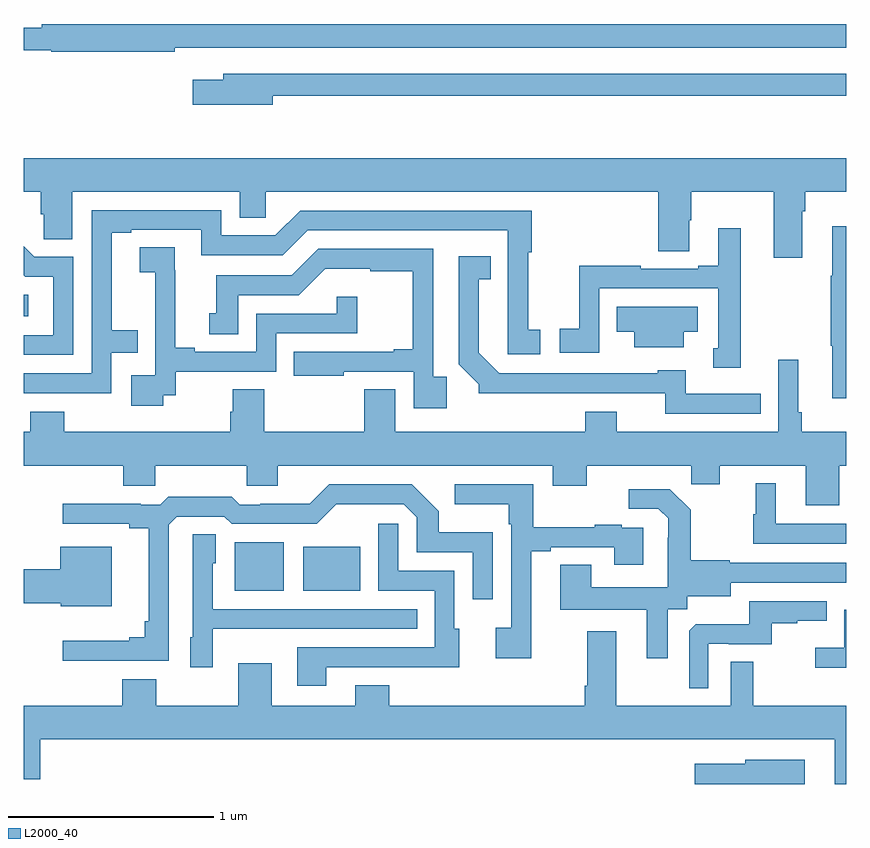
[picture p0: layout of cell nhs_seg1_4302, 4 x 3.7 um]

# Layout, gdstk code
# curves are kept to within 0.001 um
import gdstk
lib = gdstk.Library(unit=1e-6, precision=1e-09)
def R(c, l, rs):  # rectangles x0, y0, x1, y1
    for r in rs: c.add(gdstk.rectangle(r[:2], r[2:], *l))
def P(c, l, *ps):  # polygons
    for p in ps: c.add(gdstk.Polygon(p, *l))
L2000_40 = (2000, 40)

nhs_seg1_4302 = lib.new_cell('nhs_seg1_4302')
R(nhs_seg1_4302, L2000_40, [(346.025,535.139,346.264,535.375), (346.358,535.139,346.636,535.354), (345,536.474,345.022,536.578)])
P(nhs_seg1_4302, L2000_40, [(345.734,537.78),(349,537.78),(349,537.896),(345.088,537.896),(345.088,537.877),(345,537.877),(345,537.768),(345.134,537.768),(345.134,537.76),(345.734,537.76)],
  [(346.21,537.546),(349,537.546),(349,537.654),(345.971,537.654),(345.971,537.625),(345.822,537.625),(345.822,537.503),(346.21,537.503)],
  [(348.787,536.984),(348.8,536.984),(348.8,537.08),(349,537.08),(349,537.244),(345,537.244),(345,537.08),(345.083,537.08),(345.083,536.971),(345.096,536.971),(345.096,536.848),(345.235,536.848),(345.235,537.08),(346.049,537.08),(346.049,536.953),(346.176,536.953),(346.176,537.08),(348.086,537.08),(348.086,536.791),(348.238,536.791),(348.238,536.942),(348.246,536.942),(348.246,537.08),(348.647,537.08),(348.647,536.76),(348.787,536.76)],
  [(345.426,536.298),(345.554,536.298),(345.554,536.407),(345.427,536.407),(345.427,536.88),(345.523,536.88),(345.523,536.895),(345.864,536.895),(345.864,536.772),(346.26,536.772),(346.38,536.892),(347.355,536.892),(347.354,536.289),(347.512,536.289),(347.512,536.409),(347.454,536.409),(347.454,536.785),(347.471,536.785),(347.471,536.988),(346.344,536.988),(346.224,536.868),(345.96,536.868),(345.96,536.991),(345.33,536.991),(345.33,536.196),(345,536.196),(345,536.1),(345.426,536.1)],
  [(349,536.911),(348.932,536.911),(348.932,536.672),(348.925,536.672),(348.925,536.331),(348.932,536.331),(348.932,536.076),(349,536.076)],
  [(348.487,536.902),(348.377,536.902),(348.377,536.719),(348.281,536.719),(348.281,536.706),(348.002,536.706),(348.002,536.719),(347.701,536.719),(347.701,536.414),(347.607,536.414),(347.607,536.298),(347.799,536.298),(347.799,536.61),(348.378,536.61),(348.378,536.319),(348.353,536.319),(348.353,536.225),(348.487,536.225)],
  [(345.24,536.763),(345.051,536.763),(345,536.814),(345,536.673),(345.006,536.667),(345.144,536.667),(345.144,536.382),(345,536.382),(345,536.286),(345.24,536.286)],
  [(345.678,536.091),(345.74,536.091),(345.74,536.205),(346.227,536.205),(346.227,536.391),(346.622,536.391),(346.622,536.569),(346.521,536.569),(346.521,536.487),(346.131,536.487),(346.131,536.301),(345.832,536.301),(345.832,536.321),(345.736,536.321),(345.736,536.699),(345.734,536.699),(345.734,536.81),(345.564,536.81),(345.564,536.689),(345.638,536.689),(345.638,536.491),(345.639,536.491),(345.639,536.187),(345.522,536.187),(345.522,536.04),(345.678,536.04)],
  [(347.057,536.179),(346.992,536.179),(346.992,536.802),(346.431,536.802),(346.302,536.673),(345.935,536.673),(345.935,536.49),(345.902,536.49),(345.902,536.386),(346.042,536.386),(346.042,536.577),(346.338,536.577),(346.466,536.705),(346.685,536.705),(346.685,536.694),(346.891,536.694),(346.891,536.314),(346.799,536.314),(346.799,536.301),(346.312,536.301),(346.312,536.186),(346.555,536.186),(346.555,536.205),(346.896,536.205),(346.896,536.028),(347.057,536.028)],
  [(348.584,536.097),(348.22,536.097),(348.22,536.212),(348.084,536.212),(348.084,536.196),(347.313,536.196),(347.212,536.297),(347.212,536.654),(347.27,536.654),(347.27,536.767),(347.115,536.767),(347.115,536.242),(347.214,536.143),(347.214,536.099),(348.121,536.1),(348.121,536.001),(348.584,536.001)],
  [(348.211,536.399),(348.277,536.399),(348.277,536.521),(347.884,536.521),(347.884,536.399),(347.969,536.399),(347.969,536.324),(348.211,536.324)],
  [(348.803,535.554),(348.967,535.554),(348.967,535.748),(349,535.748),(349,535.912),(348.785,535.912),(348.785,536.008),(348.766,536.008),(348.766,536.263),(348.669,536.263),(348.669,535.912),(347.884,535.912),(347.884,536.011),(347.732,536.011),(347.732,535.912),(346.807,535.912),(346.807,536.12),(346.655,536.12),(346.655,535.912),(346.169,535.912),(346.169,536.12),(346.016,536.12),(346.016,536.01),(346.004,536.01),(346.004,535.912),(345.197,535.912),(345.197,536.011),(345.032,536.011),(345.032,535.912),(345,535.912),(345,535.748),(345.484,535.748),(345.484,535.65),(345.639,535.65),(345.639,535.748),(346.084,535.748),(346.084,535.65),(346.234,535.65),(346.234,535.748),(347.573,535.748),(347.573,535.649),(347.737,535.649),(347.737,535.748),(348.247,535.748),(348.247,535.658),(348.385,535.658),(348.385,535.748),(348.803,535.748)],
  [(349,535.464),(348.658,535.464),(348.658,535.663),(348.56,535.663),(348.56,535.512),(348.549,535.512),(348.549,535.368),(349,535.368)],
  [(347.467,535.332),(347.563,535.332),(347.563,535.35),(347.873,535.35),(347.873,535.266),(348.013,535.266),(348.013,535.446),(347.909,535.446),(347.909,535.459),(347.777,535.459),(347.777,535.448),(347.479,535.448),(347.479,535.656),(347.097,535.656),(347.097,535.559),(347.358,535.559),(347.358,535.463),(347.37,535.463),(347.37,534.958),(347.295,534.958),(347.295,534.81),(347.467,534.81)],
  [(345.705,535.461),(345.744,535.5),(345.975,535.5),(346.011,535.464),(346.425,535.464),(346.52,535.559),(346.848,535.56),(346.911,535.497),(346.911,535.326),(347.184,535.326),(347.184,535.098),(347.28,535.098),(347.28,535.423),(347.019,535.423),(347.019,535.526),(346.888,535.656),(346.485,535.656),(346.391,535.562),(346.15,535.562),(346.15,535.557),(346.05,535.557),(346.011,535.597),(345.703,535.597),(345.663,535.557),(345.569,535.557),(345.569,535.562),(345.189,535.562),(345.189,535.464),(345.512,535.464),(345.512,535.442),(345.608,535.442),(345.608,534.991),(345.589,534.991),(345.589,534.914),(345.512,534.914),(345.512,534.895),(345.189,534.895),(345.189,534.798),(345.705,534.798)],
  [(348.133,535.048),(348.228,535.048),(348.228,535.112),(348.439,535.112),(348.439,535.179),(349,535.178),(349,535.275),(348.435,535.275),(348.435,535.288),(348.243,535.288),(348.243,535.533),(348.143,535.633),(347.943,535.633),(347.943,535.539),(348.087,535.539),(348.134,535.492),(348.134,535.397),(348.132,535.397),(348.132,535.156),(347.761,535.156),(347.761,535.265),(347.609,535.265),(347.609,535.046),(348.029,535.046),(348.029,534.81),(348.133,534.81)],
  [(346.471,534.768),(346.901,534.768),(346.901,534.767),(347.119,534.767),(347.119,534.954),(347.094,534.954),(347.094,535.236),(346.821,535.236),(346.821,535.465),(346.725,535.465),(346.725,535.14),(346.998,535.14),(346.998,534.864),(346.331,534.864),(346.331,534.678),(346.471,534.678)],
  [(345.918,534.953),(346.235,534.953),(346.235,534.954),(346.913,534.954),(346.913,535.05),(345.918,535.05),(345.918,535.272),(345.934,535.272),(345.934,535.415),(345.822,535.415),(345.822,534.912),(345.809,534.912),(345.809,534.768),(345.918,534.768)],
  [(345.427,535.354),(345.176,535.354),(345.176,535.243),(345,535.243),(345,535.078),(345.18,535.078),(345.18,535.064),(345.427,535.064)],
  [(348.33,534.882),(348.43,534.882),(348.43,534.879),(348.638,534.879),(348.638,534.981),(348.761,534.981),(348.761,534.992),(348.905,534.992),(348.905,535.089),(348.528,535.089),(348.528,534.977),(348.269,534.977),(348.237,534.945),(348.237,534.665),(348.33,534.665)],
  [(349,535.047),(348.99,535.047),(348.99,534.862),(348.849,534.862),(348.849,534.764),(349,534.764)],
  [(349,534.58),(348.547,534.58),(348.547,534.794),(348.438,534.794),(348.438,534.58),(347.881,534.58),(347.881,534.943),(347.741,534.943),(347.741,534.676),(347.729,534.676),(347.729,534.58),(346.777,534.58),(346.777,534.679),(346.613,534.679),(346.613,534.58),(346.207,534.58),(346.207,534.787),(346.043,534.787),(346.043,534.58),(345.643,534.58),(345.643,534.709),(345.479,534.709),(345.479,534.58),(345,534.58),(345,534.222),(345.08,534.222),(345.08,534.416),(348.944,534.416),(348.944,534.199),(349,534.199)],
  [(348.799,534.316),(348.51,534.316),(348.51,534.298),(348.264,534.298),(348.264,534.199),(348.799,534.199)])

lib.write_gds('nhs_seg1_4302.gds')
